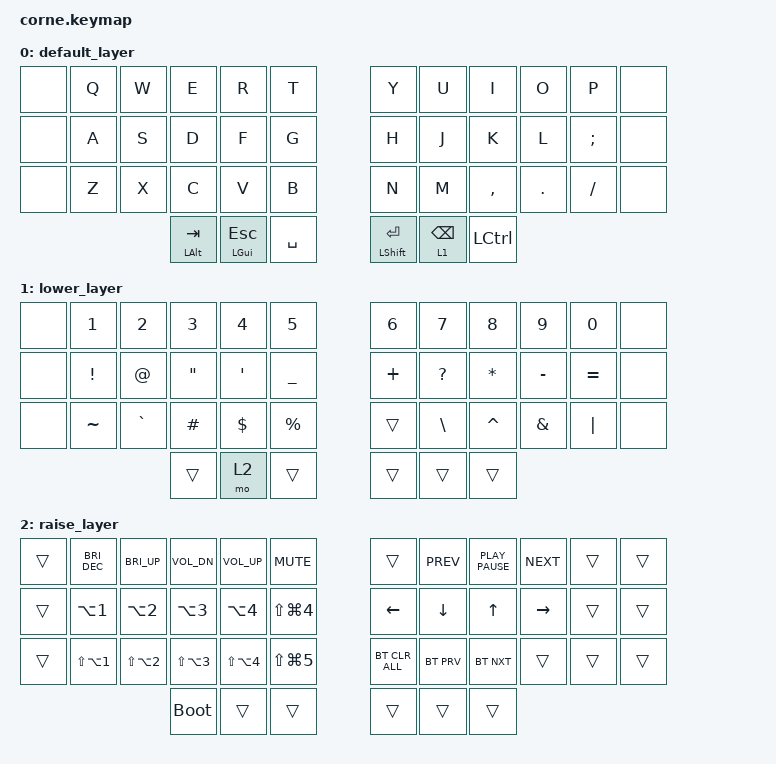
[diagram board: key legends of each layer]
/*
 * Copyright (c) 2020 The ZMK Contributors
 *
 * SPDX-License-Identifier: MIT
 */

#include <behaviors.dtsi>
#include <dt-bindings/zmk/bt.h>
#include <dt-bindings/zmk/keys.h>

/ {
    combos {
        compatible = "zmk,combos";

        combo_er {
            bindings = <&kp LEFT_BRACKET>;
            key-positions = <3 4>;
            timeout-ms = <30>;
        };

        combo_ui {
            bindings = <&kp RIGHT_BRACKET>;
            key-positions = <7 8>;
            timeout-ms = <30>;
        };

        combo_df {
            bindings = <&kp LEFT_PARENTHESIS>;
            key-positions = <15 16>;
            timeout-ms = <30>;
        };

        combo_jk {
            bindings = <&kp RIGHT_PARENTHESIS>;
            key-positions = <19 20>;
            timeout-ms = <30>;
        };

        combo_cv {
            bindings = <&kp LEFT_BRACE>;
            key-positions = <27 28>;
            timeout-ms = <30>;
        };

        combo_m {
            bindings = <&kp RIGHT_BRACE>;
            key-positions = <31 32>;
            timeout-ms = <30>;
        };

        combo_caps {
            bindings = <&kp LA(CAPS)>;
            key-positions = <2 9>;
            timeout-ms = <30>;
        };

        shift_enter {
            bindings = <&kp LS(ENTER)>;
            key-positions = <38 39>;
        };

        lsa_enter {
            bindings = <&kp LS(LA(ENTER))>;
            key-positions = <36 41>;
        };
    };

    behaviors {
        backspace_layer: backspace_layer {
            compatible = "zmk,behavior-hold-tap";
            label = "BACKSPACE_LAYER";
            bindings = <&mo>, <&kp>;

            #binding-cells = <2>;
            tapping-term-ms = <180>;
            quick-tap-ms = <200>;
        };
    };

    keymap {
        compatible = "zmk,keymap";

        default_layer {
            // -----------------------------------------------------------------------------------------
            // |  TAB |  Q  |  W  |  E  |  R  |  T  |   |  Y  |  U   |  I  |  O  |  P  | BSPC |
            // | CTRL |  A  |  S  |  D  |  F  |  G  |   |  H  |  J   |  K  |  L  |  ;  |  '   |
            // | SHFT |  Z  |  X  |  C  |  V  |  B  |   |  N  |  M   |  ,  |  .  |  /  | ESC  |
            //                    | GUI | LWR | SPC |   | ENT | RSE  | ALT |

            bindings = <
&none  &kp Q  &kp W  &kp E         &kp R            &kp T        &kp Y                  &kp U                         &kp I             &kp O    &kp P          &none
&none  &kp A  &kp S  &kp D         &kp F            &kp G        &kp H                  &kp J                         &kp K             &kp L    &kp SEMICOLON  &none
&none  &kp Z  &kp X  &kp C         &kp V            &kp B        &kp N                  &kp M                         &kp COMMA         &kp DOT  &kp SLASH      &none
                     &mt LALT TAB  &mt LGUI ESCAPE  &kp SPACE    &mt LEFT_SHIFT RETURN  &backspace_layer 1 BACKSPACE  &kp LEFT_CONTROL
            >;
        };

        lower_layer {
            // -----------------------------------------------------------------------------------------
            // |  TAB |  1  |  2  |  3  |  4  |  5  |   |  6  |  7  |  8  |  9  |  0  | BSPC |
            // | BTCLR| BT1 | BT2 | BT3 | BT4 | BT5 |   | LFT | DWN |  UP | RGT |     |      |
            // | SHFT |     |     |     |     |     |   |     |     |     |     |     |      |
            //                    | GUI |     | SPC |   | ENT |     | ALT |

            bindings = <
&none  &kp NUMBER_1     &kp NUMBER_2  &kp NUMBER_3       &kp NUMBER_4  &kp N5            &kp NUMBER_6  &kp N7         &kp N8        &kp N9         &kp N0     &none
&none  &kp EXCLAMATION  &kp AT_SIGN   &kp DOUBLE_QUOTES  &kp SQT       &kp UNDERSCORE    &kp PLUS      &kp QUESTION   &kp ASTERISK  &kp MINUS      &kp EQUAL  &none
&none  &kp TILDE        &kp GRAVE     &kp HASH           &kp DOLLAR    &kp PERCENT       &trans        &kp BACKSLASH  &kp CARET     &kp AMPERSAND  &kp PIPE   &none
                                      &trans             &mo 2         &trans            &trans        &trans         &trans
            >;
        };

        raise_layer {
            // -----------------------------------------------------------------------------------------
            // |  TAB |  !  |  @  |  #  |  $  |  %  |   |  ^  |  &  |  *  |  (  |  )  | BSPC |
            // | CTRL |     |     |     |     |     |   |  -  |  =  |  [  |  ]  |  \  |  `   |
            // | SHFT |     |     |     |     |     |   |  _  |  +  |  {  |  }  | "|" |  ~   |
            //                    | GUI |     | SPC |   | ENT |     | ALT |

            bindings = <
&trans  &kp C_BRI_DEC         &kp C_BRI_UP          &kp C_VOL_DN          &kp C_VOL_UP          &kp K_MUTE              &trans          &kp K_PREV      &kp K_PLAY_PAUSE  &kp K_NEXT       &trans  &trans
&trans  &kp LA(NUMBER_1)      &kp LA(NUMBER_2)      &kp LA(NUMBER_3)      &kp LA(NUMBER_4)      &kp LS(LG(NUMBER_4))    &kp LEFT        &kp DOWN_ARROW  &kp UP_ARROW      &kp RIGHT_ARROW  &trans  &trans
&trans  &kp LS(LA(NUMBER_1))  &kp LS(LA(NUMBER_2))  &kp LS(LA(NUMBER_3))  &kp LS(LA(NUMBER_4))  &kp LS(LG(N5))          &bt BT_CLR_ALL  &bt BT_PRV      &bt BT_NXT        &trans           &trans  &trans
                                                    &bootloader           &trans                &trans                  &trans          &trans          &trans
            >;
        };
    };
};
